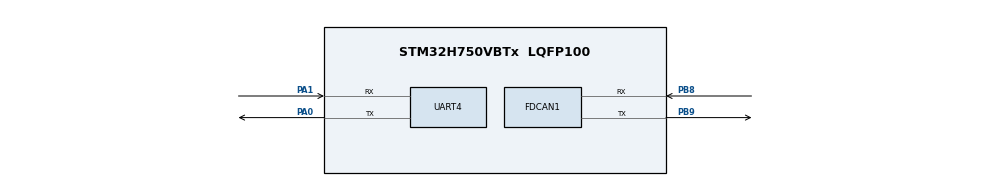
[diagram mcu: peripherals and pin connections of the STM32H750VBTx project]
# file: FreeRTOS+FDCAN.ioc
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CORTEX_M7.default_mode_Activation=1
FDCAN1.CalculateBaudRateNominal=500000
FDCAN1.CalculateTimeBitNominal=2000
FDCAN1.CalculateTimeQuantumNominal=125.0
FDCAN1.Mode=FDCAN_MODE_NORMAL
FDCAN1.NominalPrescaler=10
FDCAN1.NominalTimeSeg1=12
FDCAN1.NominalTimeSeg2=3
FDCAN1.RxFifo0ElmtsNbr=3
FDCAN1.StdFiltersNbr=1
FDCAN1.TxFifoQueueElmtsNbr=3
FREERTOS.Queues01=\ canRxQueue,16,CanFrame_t,0,Dynamic,NULL,NULL
FREERTOS.Tasks01=defaultTask,24,128,StartDefaultTask,Default,NULL,Dynamic,NULL,NULL;canTxTask,24,512,can_tx_task,Default,NULL,Dynamic,NULL,NULL;canRxTask,32,512,can_rx_task,Default,NULL,Dynamic,NULL,NULL
Mcu.Family=STM32H7
Mcu.Name=STM32H750VBTx
Mcu.Package=LQFP100
NVIC.FDCAN1_IT0_IRQn=true\:5\:0\:false\:false\:true\:true\:true\:true\:true
NVIC.FDCAN1_IT1_IRQn=true\:5\:0\:false\:false\:true\:true\:true\:true\:true
NVIC.PriorityGroup=NVIC_PRIORITYGROUP_4
PA0.Mode=Asynchronous
PA0.Signal=UART4_TX
PA1.Mode=Asynchronous
PA1.Signal=UART4_RX
PA13\ (JTMS/SWDIO).Mode=Serial_Wire
PA13\ (JTMS/SWDIO).Signal=DEBUG_JTMS-SWDIO
PA14\ (JTCK/SWCLK).Mode=Serial_Wire
PA14\ (JTCK/SWCLK).Signal=DEBUG_JTCK-SWCLK
PB8.Mode=FDCAN_Activate
PB8.Signal=FDCAN1_RX
PB9.Mode=FDCAN_Activate
PB9.Signal=FDCAN1_TX
ProjectManager.HeapSize=0x200
ProjectManager.StackSize=0x400
ProjectManager.TargetToolchain=MDK-ARM V5.32
RCC.ADCFreq_Value=129000000
RCC.APB1Freq_Value=16000000
RCC.APB2Freq_Value=32000000
RCC.APB3Freq_Value=32000000
RCC.APB4Freq_Value=32000000
RCC.CortexFreq_Value=64000000
RCC.D1PPRE=RCC_APB3_DIV2
RCC.D2PPRE1=RCC_APB1_DIV4
RCC.D2PPRE2=RCC_APB2_DIV2
RCC.D3PPRE=RCC_APB4_DIV2
RCC.DIVM1=4
RCC.DIVN1=10
RCC.HCLKFreq_Value=64000000
RCC.PLL2FRACN=0
RCC.PLL3FRACN=0
RCC.PLLFRACN=0
RCC.SYSCLKFreq_VALUE=64000000
RCC.USBFreq_Value=80000000
VP_FREERTOS_VS_CMSIS_V2.Mode=CMSIS_V2
VP_MEMORYMAP_VS_MEMORYMAP.Mode=CurAppReg
board=custom

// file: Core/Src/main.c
/* USER CODE BEGIN Header */
/**
  ******************************************************************************
  * @file           : main.c
  * @brief          : Main program body
  ******************************************************************************
  * @attention
  *
  * Copyright (c) 2026 STMicroelectronics.
  * All rights reserved.
  *
  * This software is licensed under terms that can be found in the LICENSE file
  * in the root directory of this software component.
  * If no LICENSE file comes with this software, it is provided AS-IS.
  *
  ******************************************************************************
  */
/* USER CODE END Header */
#include "main.h"
#include "cmsis_os.h"
#include "fdcan.h"
#include "usart.h"
#include "gpio.h"

/* USER CODE BEGIN PD */
#define USE_BARE_CAN_BRINGUP 0
#define BARE_CAN_TX_ENABLE 1
#define BARE_CAN_TX_ID 0x120U
#define BARE_CAN_TX_PERIOD_MS 1000U
#define BARE_CAN_MAIN_LOOP_DELAY_MS 1U
#define BARE_CAN_SNAPSHOT_PERIOD_MS 100U
#define BARE_CAN_EXPECT_RX_ID 0x321U

/* USER CODE END PD */

/* USER CODE BEGIN PV */
/* Bare-metal CAN health counters kept for bring-up without RTOS. */
volatile HAL_StatusTypeDef bare_fdcan_filter_ret = HAL_OK;
volatile HAL_StatusTypeDef bare_fdcan_global_filter_ret = HAL_OK;
volatile HAL_StatusTypeDef bare_fdcan_start_ret = HAL_OK;
volatile HAL_StatusTypeDef bare_last_tx_ret = HAL_OK;
volatile HAL_StatusTypeDef bare_last_rx_ret = HAL_OK;

volatile uint32_t bare_fdcan_started = 0;
volatile uint32_t bare_fdcan_init_mode = 0;
volatile uint32_t bare_fdcan_is_normal_mode = 0;
volatile uint32_t bare_tx_ok_count = 0;
volatile uint32_t bare_tx_err_count = 0;
volatile uint32_t bare_tx_attempt_count = 0;
volatile uint32_t bare_tx_skip_no_fifo_count = 0;
volatile uint32_t bare_rx_ok_count = 0;
volatile uint32_t bare_rx_err_count = 0;
volatile uint32_t bare_rx_fifo0_fill = 0;
volatile uint32_t bare_tx_fifo_free = 0;
volatile uint32_t bare_last_rx_id = 0;
volatile uint32_t bare_last_rx_dlc = 0;
volatile uint8_t bare_last_rx_data[8] = {0};

volatile uint32_t bare_fdcan_error_code = 0;
volatile uint32_t bare_fdcan_last_error_code = 0;
volatile uint32_t bare_fdcan_activity = 0;
volatile uint32_t bare_fdcan_rx_error_count = 0;
volatile uint32_t bare_fdcan_tx_error_count = 0;

volatile uint32_t bare_poll_count = 0;
volatile uint32_t bare_snapshot_count = 0;
volatile uint32_t bare_expected_rx_id = BARE_CAN_EXPECT_RX_ID;
volatile uint32_t bare_expected_rx_seen_count = 0;
volatile uint32_t bare_last_poll_tick = 0;
volatile uint32_t bare_last_snapshot_tick = 0;
volatile uint32_t bare_last_tx_tick = 0;
volatile uint32_t bare_sysclk_hz = 0;
volatile uint32_t bare_hclk_hz = 0;
volatile uint32_t bare_can_kernel_clock_hz = 0;
volatile uint32_t bare_can_calculated_bitrate = 0;
volatile uint32_t bare_can_alive = 0xBEEFCAFE;

/* USER CODE END PV */

void SystemClock_Config(void);
static void MPU_Config(void);
void MX_FREERTOS_Init(void);
/* USER CODE BEGIN PFP */
static void CAN_BareMetal_Start(void);
static void CAN_BareMetal_Poll(void);
#if BARE_CAN_TX_ENABLE
static void CAN_BareMetal_SendDemo(void);
#endif
static void CAN_BareMetal_Snapshot(void);
static uint8_t CAN_BareMetal_DlcToBytes(uint32_t dlc);

/* USER CODE END PFP */

int main(void)
{

  /* MPU Configuration--------------------------------------------------------*/
  MPU_Config();

  /* MCU Configuration--------------------------------------------------------*/

  /* Reset of all peripherals, Initializes the Flash interface and the Systick. */
  HAL_Init();

  /* Configure the system clock */
  SystemClock_Config();

  /* Initialize all configured peripherals */
  MX_GPIO_Init();
  MX_FDCAN1_Init();
  MX_UART4_Init();
  /* USER CODE BEGIN 2 */
#if USE_BARE_CAN_BRINGUP
  CAN_BareMetal_Start();
#endif

  /* USER CODE END 2 */

#if !USE_BARE_CAN_BRINGUP
  /* Init scheduler */
  osKernelInitialize();  /* Call init function for freertos objects (in cmsis_os2.c) */
  MX_FREERTOS_Init();

  /* Start scheduler */
  osKernelStart();

  /* We should never get here as control is now taken by the scheduler */
#endif

  /* Infinite loop */
  while (1)
  {

    /* USER CODE BEGIN 3 */
#if USE_BARE_CAN_BRINGUP
    CAN_BareMetal_Poll();
    HAL_Delay(BARE_CAN_MAIN_LOOP_DELAY_MS);
#endif
  }
  /* USER CODE END 3 */
}

void SystemClock_Config(void)
{
  RCC_OscInitTypeDef RCC_OscInitStruct = {0};
  RCC_ClkInitTypeDef RCC_ClkInitStruct = {0};

  /** Supply configuration update enable
  */
  HAL_PWREx_ConfigSupply(PWR_LDO_SUPPLY);

  /** Configure the main internal regulator output voltage
  */
  __HAL_PWR_VOLTAGESCALING_CONFIG(PWR_REGULATOR_VOLTAGE_SCALE3);

  while(!__HAL_PWR_GET_FLAG(PWR_FLAG_VOSRDY)) {}

  /** Initializes the RCC Oscillators according to the specified parameters
  * in the RCC_OscInitTypeDef structure.
  */
  RCC_OscInitStruct.OscillatorType = RCC_OSCILLATORTYPE_HSE;
  RCC_OscInitStruct.HSEState = RCC_HSE_ON;
  RCC_OscInitStruct.PLL.PLLState = RCC_PLL_ON;
  RCC_OscInitStruct.PLL.PLLSource = RCC_PLLSOURCE_HSE;
  RCC_OscInitStruct.PLL.PLLM = 5;
  RCC_OscInitStruct.PLL.PLLN = 32;
  RCC_OscInitStruct.PLL.PLLP = 2;
  RCC_OscInitStruct.PLL.PLLQ = 2;
  RCC_OscInitStruct.PLL.PLLR = 2;
  RCC_OscInitStruct.PLL.PLLRGE = RCC_PLL1VCIRANGE_2;
  RCC_OscInitStruct.PLL.PLLVCOSEL = RCC_PLL1VCOMEDIUM;
  RCC_OscInitStruct.PLL.PLLFRACN = 0;
  if (HAL_RCC_OscConfig(&RCC_OscInitStruct) != HAL_OK)
  {
    Error_Handler();
  }

  /** Initializes the CPU, AHB and APB buses clocks
  */
  RCC_ClkInitStruct.ClockType = RCC_CLOCKTYPE_HCLK|RCC_CLOCKTYPE_SYSCLK
                              |RCC_CLOCKTYPE_PCLK1|RCC_CLOCKTYPE_PCLK2
                              |RCC_CLOCKTYPE_D3PCLK1|RCC_CLOCKTYPE_D1PCLK1;
  RCC_ClkInitStruct.SYSCLKSource = RCC_SYSCLKSOURCE_PLLCLK;
  RCC_ClkInitStruct.SYSCLKDivider = RCC_SYSCLK_DIV1;
  RCC_ClkInitStruct.AHBCLKDivider = RCC_HCLK_DIV1;
  RCC_ClkInitStruct.APB3CLKDivider = RCC_APB3_DIV2;
  RCC_ClkInitStruct.APB1CLKDivider = RCC_APB1_DIV4;
  RCC_ClkInitStruct.APB2CLKDivider = RCC_APB2_DIV2;
  RCC_ClkInitStruct.APB4CLKDivider = RCC_APB4_DIV2;

  if (HAL_RCC_ClockConfig(&RCC_ClkInitStruct, FLASH_LATENCY_2) != HAL_OK)
  {
    Error_Handler();
  }
}

/* USER CODE BEGIN 4 */
static void CAN_BareMetal_Start(void)
{
  FDCAN_FilterTypeDef filter = {0};

  filter.IdType = FDCAN_STANDARD_ID;
  filter.FilterIndex = 0;
  filter.FilterType = FDCAN_FILTER_MASK;
  filter.FilterConfig = FDCAN_FILTER_TO_RXFIFO0;
  filter.FilterID1 = 0x000;
  filter.FilterID2 = 0x000;

  bare_fdcan_filter_ret = HAL_FDCAN_ConfigFilter(&hfdcan1, &filter);
  bare_fdcan_global_filter_ret = HAL_FDCAN_ConfigGlobalFilter(&hfdcan1,
                                                              FDCAN_ACCEPT_IN_RX_FIFO0,
                                                              FDCAN_ACCEPT_IN_RX_FIFO0,
                                                              FDCAN_REJECT_REMOTE,
                                                              FDCAN_REJECT_REMOTE);
  bare_fdcan_start_ret = HAL_FDCAN_Start(&hfdcan1);
  bare_fdcan_started = (bare_fdcan_start_ret == HAL_OK) ? 1U : 0U;

  CAN_BareMetal_Snapshot();
}

static void CAN_BareMetal_Poll(void)
{
  FDCAN_RxHeaderTypeDef rxHeader = {0};
  uint8_t rxData[8] = {0};
  uint8_t rxBytes = 0;
  uint32_t now = HAL_GetTick();
  uint32_t snapshotNeeded = 0U;

  bare_poll_count++;
  bare_last_poll_tick = now;
  bare_rx_fifo0_fill = HAL_FDCAN_GetRxFifoFillLevel(&hfdcan1, FDCAN_RX_FIFO0);

  while (bare_rx_fifo0_fill > 0U) {
    bare_last_rx_ret = HAL_FDCAN_GetRxMessage(&hfdcan1, FDCAN_RX_FIFO0, &rxHeader, rxData);

    if (bare_last_rx_ret == HAL_OK) {
      bare_last_rx_id = rxHeader.Identifier;
      bare_last_rx_dlc = CAN_BareMetal_DlcToBytes(rxHeader.DataLength);
      rxBytes = (bare_last_rx_dlc > 8U) ? 8U : (uint8_t)bare_last_rx_dlc;

      for (uint32_t i = 0; i < 8U; i++) {
        bare_last_rx_data[i] = (i < rxBytes) ? rxData[i] : 0U;
      }

      bare_rx_ok_count++;
      if (bare_last_rx_id == BARE_CAN_EXPECT_RX_ID) {
        bare_expected_rx_seen_count++;
      }
      snapshotNeeded = 1U;
    } else {
      bare_rx_err_count++;
      snapshotNeeded = 1U;
    }

    bare_rx_fifo0_fill = HAL_FDCAN_GetRxFifoFillLevel(&hfdcan1, FDCAN_RX_FIFO0);
  }

#if BARE_CAN_TX_ENABLE
  CAN_BareMetal_SendDemo();
#endif

  if (bare_last_tx_ret != HAL_OK) {
    snapshotNeeded = 1U;
  }

  now = HAL_GetTick();
  if (((now - bare_last_snapshot_tick) >= BARE_CAN_SNAPSHOT_PERIOD_MS) || (snapshotNeeded != 0U)) {
    CAN_BareMetal_Snapshot();
  }
}

#if BARE_CAN_TX_ENABLE
static void CAN_BareMetal_SendDemo(void)
{
  static uint32_t lastTxMs = 0;
  static uint8_t counter = 0;
  FDCAN_TxHeaderTypeDef txHeader = {0};
  uint8_t txData[8] = {0};
  uint32_t now = HAL_GetTick();

  if ((now - lastTxMs) < BARE_CAN_TX_PERIOD_MS) {
    return;
  }

  lastTxMs = now;
  bare_last_tx_tick = now;
  bare_tx_attempt_count++;
  bare_tx_fifo_free = HAL_FDCAN_GetTxFifoFreeLevel(&hfdcan1);

  if (bare_tx_fifo_free == 0U) {
    bare_tx_skip_no_fifo_count++;
    bare_tx_err_count++;
    return;
  }

  txHeader.Identifier = BARE_CAN_TX_ID;
  txHeader.IdType = FDCAN_STANDARD_ID;
  txHeader.TxFrameType = FDCAN_DATA_FRAME;
  txHeader.DataLength = FDCAN_DLC_BYTES_8;
  txHeader.ErrorStateIndicator = FDCAN_ESI_ACTIVE;
  txHeader.BitRateSwitch = FDCAN_BRS_OFF;
  txHeader.FDFormat = FDCAN_CLASSIC_CAN;
  txHeader.TxEventFifoControl = FDCAN_NO_TX_EVENTS;
  txHeader.MessageMarker = 0;

  txData[0] = counter++;
  txData[1] = 0xC1;
  txData[2] = 0xC2;
  txData[3] = 0xC3;
  txData[4] = 0xC4;
  txData[5] = 0xC5;
  txData[6] = 0xC6;
  txData[7] = 0xC7;

  bare_last_tx_ret = HAL_FDCAN_AddMessageToTxFifoQ(&hfdcan1, &txHeader, txData);

  if (bare_last_tx_ret == HAL_OK) {
    bare_tx_ok_count++;
  } else {
    bare_tx_err_count++;
  }
}
#endif

static void CAN_BareMetal_Snapshot(void)
{
  FDCAN_ProtocolStatusTypeDef protocolStatus = {0};
  FDCAN_ErrorCountersTypeDef errorCounters = {0};
  uint32_t bitTimeQuanta = 1U + hfdcan1.Init.NominalTimeSeg1 + hfdcan1.Init.NominalTimeSeg2;

  bare_snapshot_count++;
  bare_last_snapshot_tick = HAL_GetTick();
  bare_fdcan_init_mode = hfdcan1.Init.Mode;
  bare_fdcan_is_normal_mode = (hfdcan1.Init.Mode == FDCAN_MODE_NORMAL) ? 1U : 0U;
  bare_rx_fifo0_fill = HAL_FDCAN_GetRxFifoFillLevel(&hfdcan1, FDCAN_RX_FIFO0);
  bare_tx_fifo_free = HAL_FDCAN_GetTxFifoFreeLevel(&hfdcan1);
  bare_fdcan_error_code = HAL_FDCAN_GetError(&hfdcan1);

  if (HAL_FDCAN_GetProtocolStatus(&hfdcan1, &protocolStatus) == HAL_OK) {
    bare_fdcan_last_error_code = protocolStatus.LastErrorCode;
    bare_fdcan_activity = protocolStatus.Activity;
  }

  if (HAL_FDCAN_GetErrorCounters(&hfdcan1, &errorCounters) == HAL_OK) {
    bare_fdcan_rx_error_count = errorCounters.RxErrorCnt;
    bare_fdcan_tx_error_count = errorCounters.TxErrorCnt;
  }

  bare_sysclk_hz = HAL_RCC_GetSysClockFreq();
  bare_hclk_hz = HAL_RCC_GetHCLKFreq();
  bare_can_kernel_clock_hz = HAL_RCCEx_GetPeriphCLKFreq(RCC_PERIPHCLK_FDCAN);

  if ((bare_can_kernel_clock_hz != 0U) &&
      (hfdcan1.Init.NominalPrescaler != 0U) &&
      (bitTimeQuanta != 0U)) {
    bare_can_calculated_bitrate = bare_can_kernel_clock_hz /
                                  hfdcan1.Init.NominalPrescaler /
                                  bitTimeQuanta;
  } else {
    bare_can_calculated_bitrate = 0U;
  }
}

static uint8_t CAN_BareMetal_DlcToBytes(uint32_t dlc)
{
  switch (dlc) {
    case FDCAN_DLC_BYTES_0:
      return 0;
    case FDCAN_DLC_BYTES_1:
      return 1;
    case FDCAN_DLC_BYTES_2:
      return 2;
    case FDCAN_DLC_BYTES_3:
      return 3;
    case FDCAN_DLC_BYTES_4:
      return 4;
    case FDCAN_DLC_BYTES_5:
      return 5;
    case FDCAN_DLC_BYTES_6:
      return 6;
    case FDCAN_DLC_BYTES_7:
      return 7;
    case FDCAN_DLC_BYTES_8:
    default:
      return 8;
  }
}

/* USER CODE END 4 */

 /* MPU Configuration */

void MPU_Config(void)
{
  MPU_Region_InitTypeDef MPU_InitStruct = {0};

  /* Disables the MPU */
  HAL_MPU_Disable();

  /** Initializes and configures the Region and the memory to be protected
  */
  MPU_InitStruct.Enable = MPU_REGION_ENABLE;
  MPU_InitStruct.Number = MPU_REGION_NUMBER0;
  MPU_InitStruct.BaseAddress = 0x0;
  MPU_InitStruct.Size = MPU_REGION_SIZE_4GB;
  MPU_InitStruct.SubRegionDisable = 0x87;
  MPU_InitStruct.TypeExtField = MPU_TEX_LEVEL0;
  MPU_InitStruct.AccessPermission = MPU_REGION_NO_ACCESS;
  MPU_InitStruct.DisableExec = MPU_INSTRUCTION_ACCESS_DISABLE;
  MPU_InitStruct.IsShareable = MPU_ACCESS_SHAREABLE;
  MPU_InitStruct.IsCacheable = MPU_ACCESS_NOT_CACHEABLE;
  MPU_InitStruct.IsBufferable = MPU_ACCESS_NOT_BUFFERABLE;

  HAL_MPU_ConfigRegion(&MPU_InitStruct);
  /* Enables the MPU */
  HAL_MPU_Enable(MPU_PRIVILEGED_DEFAULT);

}

void Error_Handler(void)
{
  __disable_irq();
  while (1)
  {
  }
}

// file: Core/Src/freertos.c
/* USER CODE BEGIN Header */
/**
  ******************************************************************************
  * File Name          : freertos.c
  * Description        : Code for freertos applications
  ******************************************************************************
  * @attention
  *
  * Copyright (c) 2026 STMicroelectronics.
  * All rights reserved.
  *
  * This software is licensed under terms that can be found in the LICENSE file
  * in the root directory of this software component.
  * If no LICENSE file comes with this software, it is provided AS-IS.
  *
  ******************************************************************************
  */
/* USER CODE END Header */

#include "FreeRTOS.h"
#include "task.h"
#include "main.h"
#include "cmsis_os.h"

/* USER CODE BEGIN Includes */
#include "can_app.h"

/* USER CODE END Includes */

/* Definitions for defaultTask */
osThreadId_t defaultTaskHandle;
const osThreadAttr_t defaultTask_attributes = {
  .name = "defaultTask",
  .stack_size = 128 * 4,
  .priority = (osPriority_t) osPriorityNormal,
};
/* Definitions for canTxTask */
osThreadId_t canTxTaskHandle;
const osThreadAttr_t canTxTask_attributes = {
  .name = "canTxTask",
  .stack_size = 512 * 4,
  .priority = (osPriority_t) osPriorityNormal,
};
/* Definitions for canRxTask */
osThreadId_t canRxTaskHandle;
const osThreadAttr_t canRxTask_attributes = {
  .name = "canRxTask",
  .stack_size = 512 * 4,
  .priority = (osPriority_t) osPriorityAboveNormal,
};
/* Definitions for canRxQueue */
osMessageQueueId_t canRxQueueHandle;
const osMessageQueueAttr_t canRxQueue_attributes = {
  .name = "canRxQueue"
};

void StartDefaultTask(void *argument);

void MX_FREERTOS_Init(void); /* (MISRA C 2004 rule 8.1) */

void MX_FREERTOS_Init(void) {

  /* Create the queue(s) */
  /* creation of canRxQueue */
  canRxQueueHandle = osMessageQueueNew(16, sizeof(CanFrame_t), &canRxQueue_attributes);

  /* USER CODE BEGIN RTOS_QUEUES */
  CAN_App_Init(canRxQueueHandle);
  /* USER CODE END RTOS_QUEUES */

  /* Create the thread(s) */
  /* creation of defaultTask */
  defaultTaskHandle = osThreadNew(StartDefaultTask, NULL, &defaultTask_attributes);

  /* creation of canTxTask */
  canTxTaskHandle = osThreadNew(can_tx_task, NULL, &canTxTask_attributes);

  /* creation of canRxTask */
  canRxTaskHandle = osThreadNew(can_rx_task, NULL, &canRxTask_attributes);

}

void StartDefaultTask(void *argument)
{
  /* USER CODE BEGIN StartDefaultTask */
  (void)argument;

  for(;;)
  {
    osDelay(1000);
  }
  /* USER CODE END StartDefaultTask */
}
